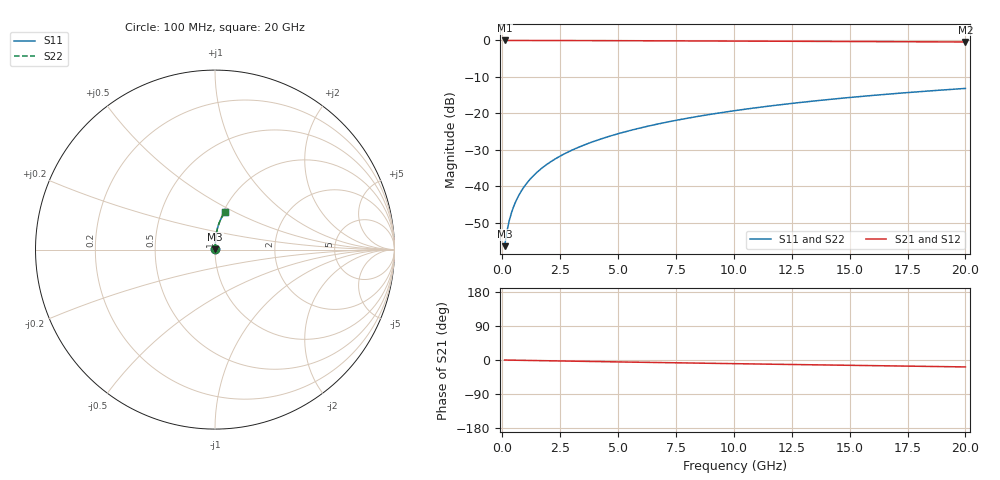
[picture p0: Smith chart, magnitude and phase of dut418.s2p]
! Touchstone file exported from HFSS 2024.1.0
!  File:  C:/UserFiles/LocalFiles/RDL_TSV_Batchsim/temp_RDL_bottom_418_1779683658.aedt
!  Generated:  12:36:55 PM May 25, 2026
!  Design:  RDL_bottom
!  Project:  temp_RDL_bottom_418_1779683658
!  Setup:  Setup1
!  Solution:  Sweep
! Variables:
!  dtsv = 10.80580581um
!  hbump = 3um
!  htsv = 56.98um
!  ldown = 211.52um
!  lrdl = 100um
!  p = 40
!  p1 = 53.73um
!  rhole = 1um
!  t = 450um
!  tdown = 4.59um
!  trdl = 3.915915916um
!  wdown = 18.29um
!  wrdl = 20um
# GHz S MA R 50.000000
! Terminal data exported
! Port[1] = RDL1_T1
! Port[2] = RDL1_T2
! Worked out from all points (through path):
!   200 points, 100 MHz to 20 GHz, reference 50 ohm
!   highest |S21| = -0.01 dB at 100 MHz (marker M1); lowest = -0.4 dB at 20 GHz (marker M2)
!   group delay of S21, straight-line fit = 2.52 ps
!   lowest |S11| = -56.5 dB at 100 MHz (marker M3), VSWR 1.00, Z = 50.1 + j0.109 ohm
!   |S11| at or under -10 dB: start of sweep to end of sweep
!   |S22| runs from -56.5 to -13.2 dB; largest |S21 - S12| = 3.1e-15
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0.1  0.001501 46.2  0.999 -0.1  0.999 -0.1  0.001501 46.2
! Gamma 0 0 0 0
! Port Impedance 50 0 50 0
0.2  0.002396 63.2  0.9989 -0.2  0.9989 -0.2  0.002396 63.2
0.3  0.003362 70.6  0.9989 -0.3  0.9989 -0.3  0.003362 70.6
0.4  0.004347 74.7  0.9988 -0.4  0.9988 -0.4  0.004347 74.7
0.5  0.005341 77.4  0.9987 -0.5  0.9987 -0.5  0.005341 77.4
0.7  0.007351 80.7  0.9986 -0.7  0.9986 -0.7  0.007351 80.7
0.8  0.008363 81.7  0.9986 -0.8  0.9986 -0.8  0.008363 81.7
1  0.0104 83.2  0.9985 -1.0  0.9985 -1.0  0.0104 83.2
1.2  0.01244 84.2  0.9983 -1.3  0.9983 -1.3  0.01244 84.2
1.4  0.01449 85.0  0.9981 -1.5  0.9981 -1.5  0.01449 85.0
1.7  0.01758 85.7  0.9978 -1.8  0.9978 -1.8  0.01758 85.7
2  0.02068 86.2  0.9975 -2.1  0.9975 -2.1  0.02068 86.2
2.7  0.02795 86.9  0.9965 -2.8  0.9965 -2.8  0.02795 86.9
3.5  0.03636 87.2  0.9952 -3.6  0.9952 -3.6  0.03636 87.2
4.2  0.04381 87.2  0.9938 -4.3  0.9938 -4.3  0.04381 87.2
5  0.05242 87.1  0.9921 -5.1  0.9921 -5.1  0.05242 87.1
6.8  0.07221 86.4  0.9879 -6.8  0.9879 -6.8  0.07221 86.4
8.4  0.09015 85.5  0.9839 -8.2  0.9839 -8.2  0.09015 85.5
10.1  0.1094 84.2  0.9795 -9.8  0.9795 -9.8  0.1094 84.2
13.4  0.1468 81.3  0.9708 -12.7  0.9708 -12.7  0.1468 81.3
16.7  0.1837 78.3  0.9617 -15.5  0.9617 -15.5  0.1837 78.3
20  0.2194 75.2  0.952 -18.3  0.952 -18.3  0.2194 75.2
